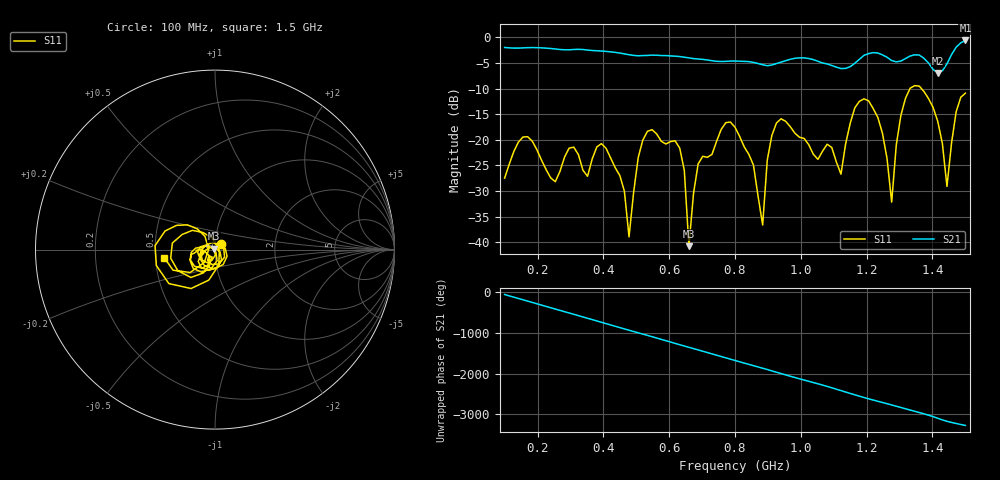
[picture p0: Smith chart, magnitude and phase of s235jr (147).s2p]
! NanoVNA-App
! Date: 2025-09-25 15:05:18
! Start: 100MHz Stop: 1,5GHz Points: 101
! S-Parameter data: F S11 S21 S12 S22
# Hz S RI R 50
!  Frequency  S11_Real  S11_Imag  S21_Real  S21_Imag  S12_Real  S12_Imag  S22_Real  S22_Imag
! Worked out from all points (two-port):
!   101 points, 100 MHz to 1.5 GHz, reference 50 ohm
!   highest |S21| = -0.59 dB at 1.5 GHz (marker M1); lowest = -6.9 dB at 1.416 GHz (marker M2)
!   |S21| within 3 dB of the highest: start of sweep to 600.4 MHz; 1.19 GHz to 1.254 GHz (63.25 MHz wide, 5.18 % of centre) (the widest 2 of 4)
!   lowest |S11| = -40.8 dB at 660 MHz (marker M3), VSWR 1.02, Z = 49.3 + j0.562 ohm
!   |S11| at or under -10 dB: start of sweep to 1.331 GHz; 1.367 GHz to end of sweep
!   S12 and S22 are empty: the file has one direction only
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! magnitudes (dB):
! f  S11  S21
! 100 MHz  -27.5  -2.0
! 156 MHz  -19.4  -2.0
! 338 MHz  -25.9  -2.4
! 408 MHz  -21.6  -2.7
! 478 MHz  -38.9  -3.4
! 520 MHz  -20.0  -3.5
! 576 MHz  -20.3  -3.5
! 632 MHz  -21.6  -3.7
! 660 MHz  -40.8  -4.0
! 688 MHz  -24.7  -4.2
! 800 MHz  -17.5  -4.6
! 884 MHz  -36.6  -5.3
! 898 MHz  -24.0  -5.5
! 926 MHz  -16.7  -5.1
! 1.038 GHz  -22.8  -4.3
! 1.122 GHz  -26.7  -6.1
! 1.206 GHz  -12.4  -3.2
! 1.276 GHz  -32.2  -4.5
! 1.332 GHz  -9.9  -3.6
! 1.416 GHz  -16.4  -6.9
! 1.444 GHz  -29.1  -5.2
! 1.5 GHz  -10.9  -0.6
